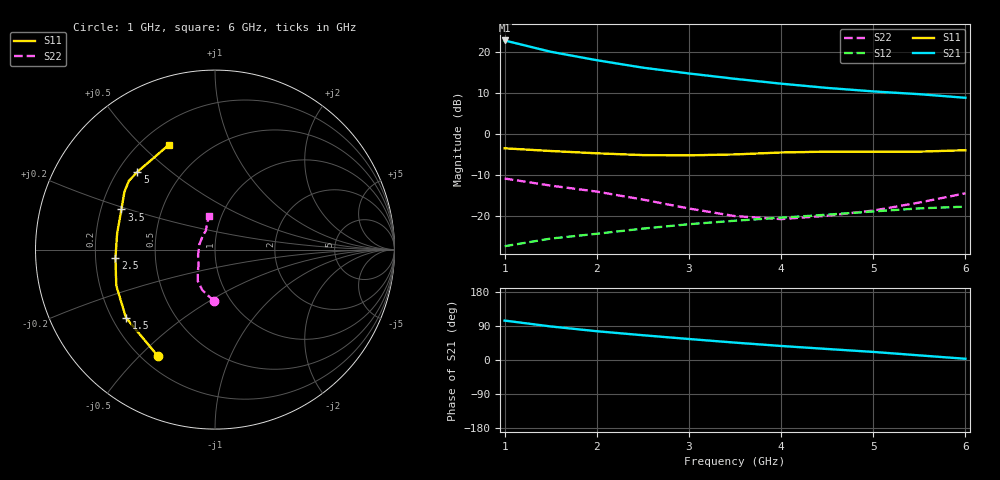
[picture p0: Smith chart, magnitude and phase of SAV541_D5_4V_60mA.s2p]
! Created Mon Oct 27 15:00:53 2008
# hz S ma R 50
! 2 Port Network Data from SP1.SP block
! freq  magS11  angS11  magS21  angS21  magS12  angS12  magS22  angS22
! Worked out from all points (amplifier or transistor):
!   11 points, 1 GHz to 6 GHz, reference 50 ohm
!   highest |S21| = 22.9 dB at 1 GHz (marker M1)
!   |S21| within 3 dB of that: start of sweep to 1.558 GHz
!   unconditionally stable (mu >= 1): 3.582 GHz to end of sweep
!   at 1.5 GHz: K = 0.66, MSG = 22.8 dB, |S12| = -25.5 dB
!   at 3.5 GHz: K = 1.00, MSG = 17.3 dB, |S12| = -21.1 dB
!   at 6 GHz: K = 1.07, MAG = 11.7 dB, |S12| = -17.7 dB
!   S11 on the Smith chart (normalised r, x): 1 GHz: 0.26, -0.57; 1.5 GHz: 0.26, -0.32; 2.5 GHz: 0.29, -0.04; 3.5 GHz: 0.29, +0.19; 5 GHz: 0.28, +0.39; 6 GHz: 0.31, +0.61
1e9  0.6739 -118.0  13.99 104.0  0.04299 43.1  0.2882 -90.8
1.5e9  0.6247 -142.5  10.18 88.6  0.05322 39.1  0.2361 -107.6
2e9  0.5855 -160.0  8.025 75.9  0.06093 35.9  0.1994 -118.9
2.5e9  0.5568 -175.1  6.508 65.3  0.07043 33.3  0.1594 -127.0
3e9  0.5527 170.6  5.528 55.4  0.07972 30.3  0.124 -137.7
3.5e9  0.5673 156.8  4.756 45.9  0.08796 25.6  0.1001 -160.2
4e9  0.599 147.4  4.149 37.0  0.09582 22.0  0.09201 164.2
4.5e9  0.6138 141.5  3.682 29.1  0.1042 18.5  0.1012 133.6
5e9  0.6122 134.9  3.337 21.3  0.1142 14.4  0.1169 116.2
5.5e9  0.6133 124.8  3.087 12.2  0.1244 8.7  0.1466 107.5
6e9  0.6387 113.6  2.789 3.2  0.1307 2.9  0.1901 100.5
